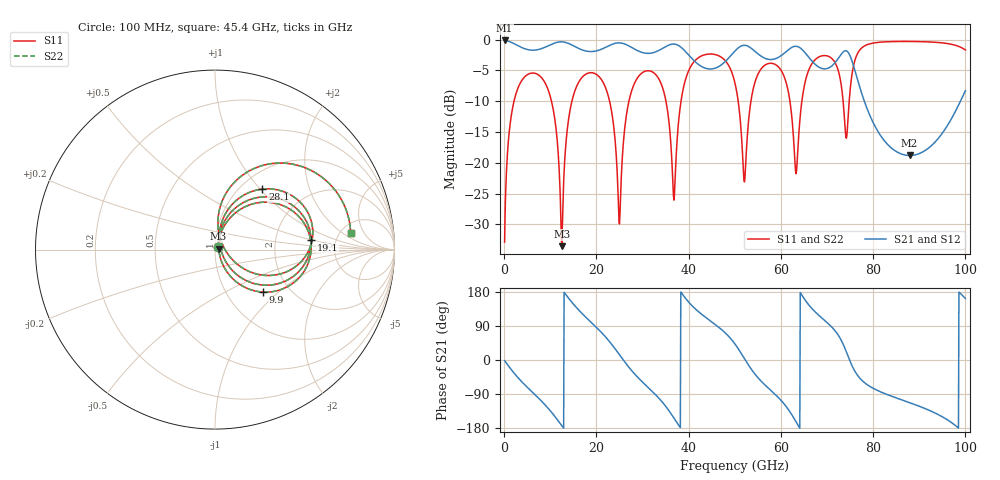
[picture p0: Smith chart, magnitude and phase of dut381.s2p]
! Touchstone file exported from HFSS 2026.1.0
!  File:  C:/ffzhzh/LocalFiles/Ansys_Project_Files/temp_train_TSV_RDL_381_1783715579_45164.aedt
!  Generated:  04:59:09 AM Jul 11, 2026
!  Design:  TSV_RDL
!  Project:  temp_train_TSV_RDL_381_1783715579_45164
! Variables:
!  h_bsmrdl = 4.82um
!  h_ox = 20um
!  h_rdl = 5um
!  h_sub = 98.12um
!  h_tmrdl = 4.91um
!  h_tsv = 98.12um
!  h_via = 3um
!  l_bsmrdl = 572.32um
!  l_sub = 4468.33um
!  l_tmrdl = 554.22um
!  m_sub = 200um
!  pitch = 59.26um
!  r_tsv = 12.59um
!  s_tmrdl = 10um
!  w_bsmrdl = 25.46um
!  w_sub = 500um
!  w_tmrdl = 19.37um
!  x_tsv_center1 = 563.905um
!  x_tsv_center2 = 1161.685um
!  x_tsv_center3 = 1735.275um
!  x_tsv_center4 = 2333.055um
!  x_tsv_center5 = 2906.645um
!  x_tsv_center6 = 3504.425um
# GHz S MA R 50.000000
! Terminal data exported
! Port[1] = TM_RDL1_1_T1
! Port[2] = TM_RDL5_1_T1
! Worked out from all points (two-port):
!   1000 points, 100 MHz to 100 GHz, reference 50 ohm
!   highest |S21| = -0.13 dB at 100 MHz (marker M1); lowest = -18.8 dB at 87.9 GHz (marker M2)
!   |S21| within 3 dB of the highest: start of sweep to 40.8 GHz; 48.49 GHz to 56.9 GHz (8.41 GHz wide, 16 % of centre)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
!   lowest |S11| = -33.5 dB at 12.5 GHz (marker M3), VSWR 1.04, Z = 52.1 + j0.599 ohm
!   |S11| at or under -10 dB: 10.27 GHz to 14.69 GHz (4.422 GHz wide, 35.4 % of centre); 22.86 GHz to 27.05 GHz (4.193 GHz wide, 16.8 % of centre); 35.08 GHz to 38.34 GHz (3.262 GHz wide, 8.89 % of centre)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
!   |S22| runs from -33.5 to -0.3 dB; largest |S21 - S12| = 1.7e-11
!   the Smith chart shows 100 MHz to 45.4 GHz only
!   S11 on the Smith chart (normalised r, x): 100 MHz: 1.03, +0.04; 9.9 GHz: 1.47, -0.80; 19.1 GHz: 3.24, +0.51; 28.1 GHz: 1.25, +1.03; 45.4 GHz: 6.13, +2.75
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0.1  0.02269 49.1  0.9855 -1.7  0.9855 -1.7  0.02269 49.1
! Gamma 0 0 0 0
! Port Impedance 50 0 50 0
2.9  0.396 41.8  0.8972 -45.2  0.8972 -45.2  0.396 41.8
9.9  0.3564 -41.6  0.9049 -132.5  0.9049 -132.5  0.3564 -41.6
12.5  0.02104 15.9  0.9602 -173.3  0.9602 -173.3  0.02103 15.9
16.8  0.4896 31.6  0.8291 123.8  0.8291 123.8  0.4896 31.6
19.1  0.5384 6.0  0.8008 96.7  0.8008 96.7  0.5384 6.0
25  0.0319 19.3  0.9418 13.8  0.9418 13.8  0.03197 19.4
28.1  0.4283 51.9  0.8454 -34.4  0.8454 -34.4  0.4283 51.9
33.4  0.4896 -7.1  0.813 -98.8  0.813 -98.8  0.4896 -7.1
36.8  0.04975 22.9  0.9213 -153.0  0.9213 -153.0  0.04935 22.9
39.5  0.4994 64.5  0.7874 160.1  0.7874 160.1  0.4994 64.5
45.4  0.7616 7.1  0.5817 97.1  0.5817 97.1  0.7616 7.1
50.1  0.4345 -41.4  0.8133 41.3  0.8133 41.3  0.4345 -41.3
52.1  0.06996 7.2  0.9004 3.6  0.9004 3.6  0.07029 7.3
54.7  0.4902 42.3  0.7854 -42.1  0.7854 -42.1  0.4903 42.3
59.7  0.5878 -9.8  0.7272 -102.3  0.7272 -102.3  0.5879 -9.7
63.3  0.08159 17.2  0.8838 -163.3  0.8838 -163.3  0.08304 17.2
66.7  0.6359 41.3  0.6726 136.1  0.6726 136.1  0.636 41.2
74.5  0.2124 50.7  0.7959 11.9  0.7959 11.9  0.2111 51.0
83.4  0.963 -5.0  0.1378 -92.8  0.1378 -92.8  0.963 -5.0
87.9  0.9674 -22.7  0.1147 -112.5  0.1147 -112.5  0.9674 -22.7
100  0.825 -101.6  0.3849 162.3  0.3849 162.3  0.8252 -101.5
